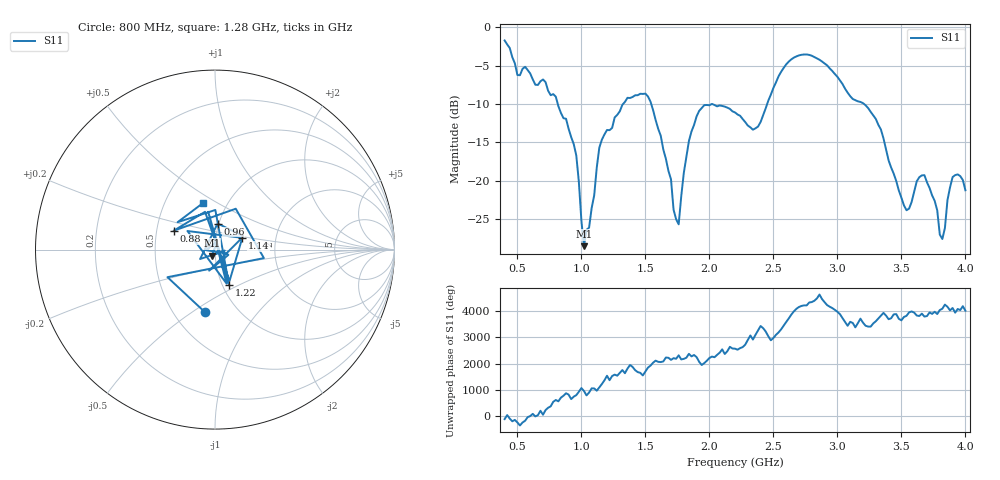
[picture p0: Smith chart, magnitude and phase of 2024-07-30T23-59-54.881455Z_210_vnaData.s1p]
!Created with skrf (http://scikit-rf.org).
# Hz S RI R 50.0
!freq ReS11 ImS11
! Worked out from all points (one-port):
!   181 points, 400 MHz to 4 GHz, reference 50 ohm
!   lowest |S11| = -28.6 dB at 1.02 GHz (marker M1), VSWR 1.08, Z = 48.2 - j3.18 ohm
!   |S11| at or under -10 dB: 815.5 MHz to 1.326 GHz (510.1 MHz wide, 47.6 % of centre); 1.546 GHz to 2.018 GHz (472.9 MHz wide, 26.5 % of centre); 3.208 GHz to end of sweep (the widest 3 of 4)
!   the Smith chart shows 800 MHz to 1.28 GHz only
!   S11 on the Smith chart (normalised r, x): 800 MHz: 0.71, -0.56; 880 MHz: 0.61, +0.14; 960 MHz: 0.99, +0.29; 1.14 GHz: 1.34, +0.18; 1.22 GHz: 1.07, -0.45; 1.28 GHz: 0.77, +0.43
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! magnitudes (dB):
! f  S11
! 400 MHz  -1.7
! 500 MHz  -6.2
! 800 MHz  -9.0
! 860 MHz  -11.9
! 880 MHz  -11.9
! 960 MHz  -16.7
! 1.02 GHz  -28.6
! 1.1 GHz  -21.9
! 1.14 GHz  -15.7
! 1.22 GHz  -13.4
! 1.28 GHz  -11.4
! 1.3 GHz  -11.0
! 1.52 GHz  -9.0
! 1.62 GHz  -14.1
! 1.76 GHz  -25.7
! 1.84 GHz  -14.8
! 1.92 GHz  -10.9
! 2.2 GHz  -11.1
! 2.38 GHz  -12.9
! 2.66 GHz  -3.9
! 2.88 GHz  -4.5
! 3.1 GHz  -9.0
! 3.3 GHz  -11.9
! 3.56 GHz  -23.7
! 3.68 GHz  -19.3
! 3.82 GHz  -27.6
! 3.9 GHz  -19.5
! 4 GHz  -21.3
